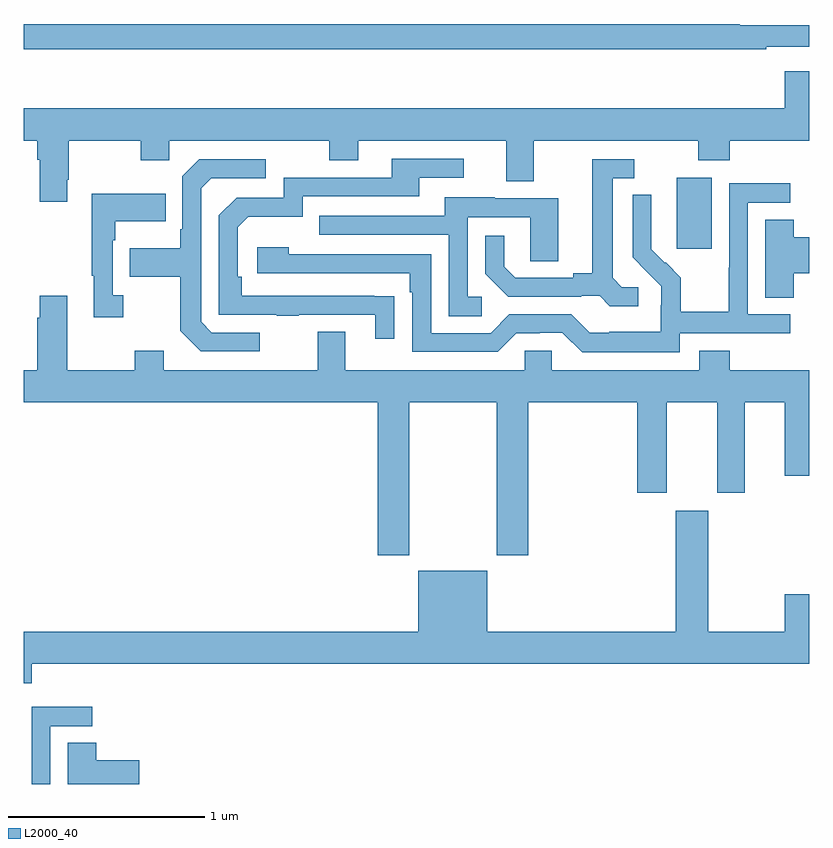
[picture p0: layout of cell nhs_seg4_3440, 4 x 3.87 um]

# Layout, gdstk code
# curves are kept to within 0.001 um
import gdstk
lib = gdstk.Library(unit=1e-6, precision=1e-09)
def R(c, l, rs):  # rectangles x0, y0, x1, y1
    for r in rs: c.add(gdstk.rectangle(r[:2], r[2:], *l))
def P(c, l, *ps):  # polygons
    for p in ps: c.add(gdstk.Polygon(p, *l))
L2000_40 = (2000, 40)

nhs_seg4_3440 = lib.new_cell('nhs_seg4_3440')
R(nhs_seg4_3440, L2000_40, [(296.324,773.625,296.503,773.986)])
P(nhs_seg4_3440, L2000_40, [(296.78,774.654),(297,774.654),(297,774.763),(296.645,774.763),(296.645,774.77),(293,774.77),(293,774.642),(296.78,774.642)],
  [(293.221,773.977),(293.229,773.977),(293.229,774.176),(293.596,774.176),(293.596,774.077),(293.742,774.077),(293.742,774.176),(294.556,774.176),(294.556,774.077),(294.703,774.077),(294.703,774.176),(295.457,774.176),(295.457,773.968),(295.597,773.968),(295.597,774.176),(296.434,774.176),(296.434,774.077),(296.594,774.077),(296.594,774.176),(297,774.176),(297,774.529),(296.876,774.529),(296.876,774.34),(293,774.34),(293,774.176),(293.069,774.176),(293.069,774.08),(293.081,774.08),(293.081,773.865),(293.221,773.865)],
  [(294.887,773.384),(294.11,773.385),(294.11,773.482),(294.09,773.482),(294.09,773.736),(294.143,773.789),(294.42,773.789),(294.42,773.892),(295.015,773.892),(295.015,773.988),(295.24,773.988),(295.24,774.084),(294.875,774.084),(294.875,773.988),(294.324,773.988),(294.324,773.886),(294.084,773.886),(293.994,773.796),(293.994,773.289),(294.289,773.289),(294.289,773.284),(294.401,773.284),(294.401,773.289),(294.791,773.289),(294.791,773.166),(294.887,773.166)],
  [(294.202,773.199),(293.958,773.199),(293.904,773.253),(293.904,773.934),(293.955,773.985),(294.232,773.985),(294.232,774.081),(293.895,774.081),(293.808,773.994),(293.808,773.725),(293.796,773.725),(293.796,773.629),(293.539,773.629),(293.539,773.482),(293.796,773.482),(293.796,773.209),(293.901,773.103),(294.202,773.103)],
  [(296.128,773.43),(296.046,773.43),(295.999,773.477),(295.999,773.985),(296.11,773.985),(296.11,774.081),(295.895,774.081),(295.895,773.501),(295.799,773.501),(295.799,773.478),(295.504,773.478),(295.447,773.535),(295.447,773.692),(295.35,773.692),(295.35,773.498),(295.466,773.382),(295.838,773.382),(295.838,773.385),(295.932,773.385),(295.984,773.333),(296.128,773.333)],
  [(296.34,773.196),(296.902,773.196),(296.902,773.292),(296.688,773.292),(296.688,773.859),(296.902,773.859),(296.902,773.958),(296.592,773.958),(296.592,773.528),(296.59,773.528),(296.59,773.305),(296.345,773.305),(296.345,773.479),(296.268,773.556),(296.265,773.553),(296.195,773.624),(296.196,773.9),(296.1,773.9),(296.1,773.582),(296.246,773.434),(296.246,773.337),(296.244,773.337),(296.244,773.203),(295.981,773.203),(295.981,773.199),(295.881,773.199),(295.788,773.292),(295.473,773.292),(295.377,773.196),(295.074,773.196),(295.074,773.598),(294.35,773.598),(294.35,773.632),(294.189,773.632),(294.189,773.502),(294.965,773.502),(294.965,773.405),(294.978,773.405),(294.978,773.1),(295.413,773.1),(295.509,773.196),(295.628,773.196),(295.628,773.199),(295.743,773.199),(295.843,773.099),(296.34,773.099)],
  [(293.506,773.39),(293.454,773.39),(293.454,773.669),(293.467,773.669),(293.467,773.765),(293.723,773.765),(293.723,773.905),(293.346,773.905),(293.346,773.489),(293.357,773.489),(293.357,773.277),(293.506,773.277)],
  [(295.333,773.382),(295.26,773.382),(295.26,773.787),(295.578,773.787),(295.578,773.563),(295.723,773.563),(295.723,773.883),(295.399,773.883),(295.399,773.887),(295.145,773.887),(295.145,773.793),(294.505,773.793),(294.505,773.697),(295.164,773.697),(295.164,773.281),(295.333,773.281)],
  [(296.921,773.501),(297,773.501),(297,773.684),(296.921,773.684),(296.921,773.774),(296.777,773.774),(296.777,773.377),(296.921,773.377)],
  [(294.963,772.844),(295.408,772.844),(295.408,772.065),(295.568,772.065),(295.568,772.844),(296.123,772.844),(296.123,772.383),(296.275,772.383),(296.275,772.844),(296.531,772.844),(296.531,772.383),(296.671,772.383),(296.671,772.844),(296.876,772.844),(296.876,772.47),(297,772.47),(297,773.008),(296.594,773.008),(296.594,773.107),(296.441,773.107),(296.441,773.008),(295.689,773.008),(295.689,773.106),(295.551,773.106),(295.551,773.008),(294.637,773.008),(294.637,773.203),(294.497,773.203),(294.497,773.008),(293.713,773.008),(293.713,773.107),(293.566,773.107),(293.566,773.008),(293.221,773.008),(293.221,773.386),(293.081,773.386),(293.081,773.273),(293.069,773.273),(293.069,773.008),(293,773.008),(293,772.844),(294.803,772.844),(294.803,772.065),(294.963,772.065)],
  [(293.042,771.512),(297,771.512),(297,771.865),(296.876,771.865),(296.876,771.676),(296.485,771.676),(296.485,772.291),(296.321,772.291),(296.321,771.676),(295.36,771.676),(295.36,771.985),(295.01,771.985),(295.01,771.676),(293,771.676),(293,771.413),(293.042,771.413)],
  [(293.136,771.195),(293.35,771.195),(293.35,771.294),(293.04,771.294),(293.04,770.9),(293.136,770.9)],
  [(293.587,771.02),(293.369,771.02),(293.369,771.11),(293.225,771.11),(293.225,770.9),(293.587,770.9)])

lib.write_gds('nhs_seg4_3440.gds')
